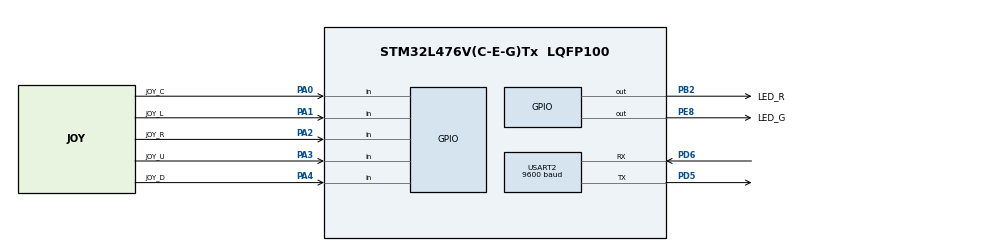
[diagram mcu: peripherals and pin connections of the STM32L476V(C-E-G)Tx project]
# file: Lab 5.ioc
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Mcu.Family=STM32L4
Mcu.Name=STM32L476V(C-E-G)Tx
Mcu.Package=LQFP100
NVIC.PriorityGroup=NVIC_PRIORITYGROUP_4
PA0.GPIO_Label=JOY_C
PA0.GPIO_PuPd=GPIO_PULLDOWN
PA0.Signal=GPIO_Input
PA1.GPIO_Label=JOY_L
PA1.GPIO_PuPd=GPIO_PULLDOWN
PA1.Signal=GPIO_Input
PA2.GPIO_Label=JOY_R
PA2.GPIO_PuPd=GPIO_PULLDOWN
PA2.Signal=GPIO_Input
PA3.GPIO_Label=JOY_U
PA3.GPIO_PuPd=GPIO_PULLDOWN
PA3.Signal=GPIO_Input
PA4.GPIO_Label=JOY_D
PA4.GPIO_PuPd=GPIO_PULLDOWN
PA4.Signal=GPIO_Input
PB2.GPIO_Label=LED_R
PB2.GPIO_ModeDefaultOutputPP=GPIO_MODE_OUTPUT_PP
PB2.PinState=GPIO_PIN_SET
PB2.Signal=GPIO_Output
PD5.GPIO_PuPd=GPIO_PULLUP
PD5.Mode=Asynchronous
PD5.Signal=USART2_TX
PD6.GPIO_PuPd=GPIO_PULLUP
PD6.Mode=Asynchronous
PD6.Signal=USART2_RX
PE8.GPIO_Label=LED_G
PE8.PinState=GPIO_PIN_SET
PE8.Signal=GPIO_Output
ProjectManager.HeapSize=0x200
ProjectManager.StackSize=0x400
ProjectManager.TargetToolchain=MDK-ARM V5
RCC.HSE_VALUE=8000000
RCC.HSI_VALUE=16000000
RCC.LSE_VALUE=32768
RCC.MSI_VALUE=4000000
RCC.VCOOutputFreq_Value=32000000
USART2.BaudRate=9600
USART2.VirtualMode-Asynchronous=VM_ASYNC
board=custom

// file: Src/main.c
/* USER CODE BEGIN Header */
/**
  ******************************************************************************
  * @file           : main.c
  * @brief          : Main program body
  ******************************************************************************
  ** This notice applies to any and all portions of this file
  * that are not between comment pairs USER CODE BEGIN and
  * USER CODE END. Other portions of this file, whether
  * inserted by the user or by software development tools
  * are owned by their respective copyright owners.
  *
  * COPYRIGHT(c) 2019 STMicroelectronics
  *
  * Redistribution and use in source and binary forms, with or without modification,
  * are permitted provided that the following conditions are met:
  *   1. Redistributions of source code must retain the above copyright notice,
  *      this list of conditions and the following disclaimer.
  *   2. Redistributions in binary form must reproduce the above copyright notice,
  *      this list of conditions and the following disclaimer in the documentation
  *      and/or other materials provided with the distribution.
  *   3. Neither the name of STMicroelectronics nor the names of its contributors
  *      may be used to endorse or promote products derived from this software
  *      without specific prior written permission.
  *
  * THIS SOFTWARE IS PROVIDED BY THE COPYRIGHT HOLDERS AND CONTRIBUTORS "AS IS"
  * AND ANY EXPRESS OR IMPLIED WARRANTIES, INCLUDING, BUT NOT LIMITED TO, THE
  * IMPLIED WARRANTIES OF MERCHANTABILITY AND FITNESS FOR A PARTICULAR PURPOSE ARE
  * DISCLAIMED. IN NO EVENT SHALL THE COPYRIGHT HOLDER OR CONTRIBUTORS BE LIABLE
  * FOR ANY DIRECT, INDIRECT, INCIDENTAL, SPECIAL, EXEMPLARY, OR CONSEQUENTIAL
  * DAMAGES (INCLUDING, BUT NOT LIMITED TO, PROCUREMENT OF SUBSTITUTE GOODS OR
  * SERVICES; LOSS OF USE, DATA, OR PROFITS; OR BUSINESS INTERRUPTION) HOWEVER
  * CAUSED AND ON ANY THEORY OF LIABILITY, WHETHER IN CONTRACT, STRICT LIABILITY,
  * OR TORT (INCLUDING NEGLIGENCE OR OTHERWISE) ARISING IN ANY WAY OUT OF THE USE
  * OF THIS SOFTWARE, EVEN IF ADVISED OF THE POSSIBILITY OF SUCH DAMAGE.
  *
  ******************************************************************************
  */
/* USER CODE END Header */

#include "main.h"

/* USER CODE BEGIN Includes */
#include "stdio.h"
#include <stdbool.h>
/* USER CODE END Includes */

UART_HandleTypeDef huart2;

void SystemClock_Config(void);
static void MX_GPIO_Init(void);
static void MX_USART2_UART_Init(void);
/* USER CODE BEGIN PFP */

/* Private function prototypes -----------------------------------------------*/
#ifdef __GNUC__
/* With GCC, small printf (option LD Linker->Libraries->Small printf
   set to 'Yes') calls __io_putchar() */
#define PUTCHAR_PROTOTYPE int __io_putchar(int ch)
#else
#define PUTCHAR_PROTOTYPE int fputc(int ch, FILE *f)
#endif /* __GNUC__ */

extern uint32_t read_a_bit_of_a_port(__IO uint32_t *pIDR, uint32_t pinMask);
extern void set_a_bit_of_a_port(__IO uint32_t *pODR, uint32_t pinMask);
extern void clear_a_bit_of_a_port(__IO uint32_t *pODR, uint32_t pinMask);

#define LD_R_ON   (set_a_bit_of_a_port(&(LED_R_GPIO_Port->ODR), LED_R_Pin))//(LED_R_GPIO_Port->BSRR = (uint32_t)LED_R_Pin)// Add the appropriate function here
#define LD_G_ON   (set_a_bit_of_a_port(&(LED_G_GPIO_Port->ODR), LED_G_Pin))//(LED_G_GPIO_Port->BSRR = (uint32_t)LED_G_Pin)// Add the appropriate function here
#define LD_R_OFF  (clear_a_bit_of_a_port(&(LED_R_GPIO_Port->ODR), LED_R_Pin))//(LED_R_GPIO_Port->BRR = (uint32_t)LED_R_Pin) // Add the appropriate function here
#define LD_G_OFF  (clear_a_bit_of_a_port(&(LED_G_GPIO_Port->ODR), LED_G_Pin))//(LED_G_GPIO_Port->BRR = (uint32_t)LED_G_Pin)// Add the appropriate function here
#define JOY_C_IS_PRESSED  (read_a_bit_of_a_port(&(JOY_C_GPIO_Port->IDR), JOY_C_Pin)!=0x00u)//((JOY_C_GPIO_Port->IDR & JOY_C_Pin) != 0x00u )// Add the appropriate function here
#define JOY_L_IS_PRESSED  (read_a_bit_of_a_port(&(JOY_L_GPIO_Port->IDR), JOY_L_Pin)!=0x00u)// Add the appropriate function here
#define JOY_R_IS_PRESSED  (read_a_bit_of_a_port(&(JOY_R_GPIO_Port->IDR), JOY_R_Pin)!=0x00u)// Add the appropriate function here

/* USER CODE END PFP */

int main(void)
{
  /* USER CODE BEGIN 1 */
    // Code snippet 3
    enum progState{State1 = 1, State2, State3, State4};
    enum progState currentState = State1;
    bool stateChanged = true;
    bool ledON = true;
    uint32_t bDelay = 100;
  /* USER CODE END 1 */

  /* MCU Configuration--------------------------------------------------------*/

  /* Reset of all peripherals, Initializes the Flash interface and the Systick. */
  HAL_Init();

  /* Configure the system clock */
  SystemClock_Config();

  /* Initialize all configured peripherals */
  MX_GPIO_Init();
  MX_USART2_UART_Init();
  /* USER CODE BEGIN 2 */
	printf("\n\rLab 5: Tyler Wise & Oleksandr Hendrik\n\r");
  /* USER CODE END 2 */

  /* Infinite loop */
  while (1)
  {

    /* USER CODE BEGIN 3 */
		// Code snippet 4
    if (stateChanged)
        printf("The current state is State%1d.\n\r", currentState);
    switch (currentState) {
      case State1:
        if (stateChanged) {
            printf("Press the center key to go to State 2.\n\r");
            stateChanged = false;
        }
        if (JOY_C_IS_PRESSED) {
            currentState = State2;
            stateChanged = true;
            break;
        }
        if (ledON) {
            LD_R_ON;
            LD_G_OFF;
        } else {
            LD_R_OFF;
            LD_G_ON;
        }
        HAL_Delay(bDelay);
        ledON = !ledON;
        break;
      case State2:
        if (stateChanged) {
            printf("Press the center, left, or right key to go to State 1, 3, or 4.\n\r");
            stateChanged = false;
        }
        if (JOY_C_IS_PRESSED) {
            currentState = State1;
            stateChanged = true;
            break;
        }
        if (JOY_L_IS_PRESSED) {
            currentState = State3;
            stateChanged = true;
            break;
        }
        if (JOY_R_IS_PRESSED) {
            currentState = State4;
            stateChanged = true;
            break;
        }
        LD_R_OFF;
        LD_G_OFF;
        break;
      case State3:
        if (stateChanged) {
            printf("Press the center or right key to go to State 2 or 4.\n\r");
            stateChanged = false;
        }
        if (JOY_C_IS_PRESSED) {
            currentState = State2;
            stateChanged = true;
            break;
        }
        if (JOY_R_IS_PRESSED) {
            currentState = State4;
            stateChanged = true;
            break;
        }
        if (ledON) {
            LD_R_ON;
        } else {
            LD_R_OFF;
        }
        LD_G_OFF;
        HAL_Delay(2*bDelay);
        ledON = !ledON;
        break;
      case State4:
        if (stateChanged) {
            printf("Press the center or left key to go to State 2 or 3.\n\r");
            stateChanged = false;
        }
        if (JOY_C_IS_PRESSED) {
            currentState = State2;
            stateChanged = true;
            break;
        }
        if (JOY_L_IS_PRESSED) {
            currentState = State3;
            stateChanged = true;
            break;
        }
        if (ledON) {
            LD_G_ON;
        } else {
            LD_G_OFF;
        }
        LD_R_OFF;
        HAL_Delay(3*bDelay);
        ledON = !ledON;
        break;
      default:
        printf("The program should not print this line---something is deadly wrong\n\r");
        break;
    }
  }
  /* USER CODE END 3 */
}

void SystemClock_Config(void)
{
  RCC_OscInitTypeDef RCC_OscInitStruct = {0};
  RCC_ClkInitTypeDef RCC_ClkInitStruct = {0};
  RCC_PeriphCLKInitTypeDef PeriphClkInit = {0};

  /**Initializes the CPU, AHB and APB busses clocks
  */
  RCC_OscInitStruct.OscillatorType = RCC_OSCILLATORTYPE_MSI;
  RCC_OscInitStruct.MSIState = RCC_MSI_ON;
  RCC_OscInitStruct.MSICalibrationValue = 0;
  RCC_OscInitStruct.MSIClockRange = RCC_MSIRANGE_6;
  RCC_OscInitStruct.PLL.PLLState = RCC_PLL_NONE;
  if (HAL_RCC_OscConfig(&RCC_OscInitStruct) != HAL_OK)
  {
    Error_Handler();
  }
  /**Initializes the CPU, AHB and APB busses clocks
  */
  RCC_ClkInitStruct.ClockType = RCC_CLOCKTYPE_HCLK|RCC_CLOCKTYPE_SYSCLK
                              |RCC_CLOCKTYPE_PCLK1|RCC_CLOCKTYPE_PCLK2;
  RCC_ClkInitStruct.SYSCLKSource = RCC_SYSCLKSOURCE_MSI;
  RCC_ClkInitStruct.AHBCLKDivider = RCC_SYSCLK_DIV1;
  RCC_ClkInitStruct.APB1CLKDivider = RCC_HCLK_DIV1;
  RCC_ClkInitStruct.APB2CLKDivider = RCC_HCLK_DIV1;

  if (HAL_RCC_ClockConfig(&RCC_ClkInitStruct, FLASH_LATENCY_0) != HAL_OK)
  {
    Error_Handler();
  }
  PeriphClkInit.PeriphClockSelection = RCC_PERIPHCLK_USART2;
  PeriphClkInit.Usart2ClockSelection = RCC_USART2CLKSOURCE_PCLK1;
  if (HAL_RCCEx_PeriphCLKConfig(&PeriphClkInit) != HAL_OK)
  {
    Error_Handler();
  }
  /**Configure the main internal regulator output voltage
  */
  if (HAL_PWREx_ControlVoltageScaling(PWR_REGULATOR_VOLTAGE_SCALE1) != HAL_OK)
  {
    Error_Handler();
  }
}

static void MX_USART2_UART_Init(void)
{

  huart2.Instance = USART2;
  huart2.Init.BaudRate = 9600;
  huart2.Init.WordLength = UART_WORDLENGTH_8B;
  huart2.Init.StopBits = UART_STOPBITS_1;
  huart2.Init.Parity = UART_PARITY_NONE;
  huart2.Init.Mode = UART_MODE_TX_RX;
  huart2.Init.HwFlowCtl = UART_HWCONTROL_NONE;
  huart2.Init.OverSampling = UART_OVERSAMPLING_16;
  huart2.Init.OneBitSampling = UART_ONE_BIT_SAMPLE_DISABLE;
  huart2.AdvancedInit.AdvFeatureInit = UART_ADVFEATURE_NO_INIT;
  if (HAL_UART_Init(&huart2) != HAL_OK)
  {
    Error_Handler();
  }

}

static void MX_GPIO_Init(void)
{
  GPIO_InitTypeDef GPIO_InitStruct = {0};

  /* GPIO Ports Clock Enable */
  __HAL_RCC_GPIOA_CLK_ENABLE();
  __HAL_RCC_GPIOB_CLK_ENABLE();
  __HAL_RCC_GPIOE_CLK_ENABLE();
  __HAL_RCC_GPIOD_CLK_ENABLE();

  /*Configure GPIO pin Output Level */
  HAL_GPIO_WritePin(LED_R_GPIO_Port, LED_R_Pin, GPIO_PIN_SET);

  /*Configure GPIO pin Output Level */
  HAL_GPIO_WritePin(LED_G_GPIO_Port, LED_G_Pin, GPIO_PIN_SET);

  /*Configure GPIO pins : JOY_C_Pin JOY_L_Pin JOY_R_Pin JOY_U_Pin
                           JOY_D_Pin */
  GPIO_InitStruct.Pin = JOY_C_Pin|JOY_L_Pin|JOY_R_Pin|JOY_U_Pin
                          |JOY_D_Pin;
  GPIO_InitStruct.Mode = GPIO_MODE_INPUT;
  GPIO_InitStruct.Pull = GPIO_PULLDOWN;
  HAL_GPIO_Init(GPIOA, &GPIO_InitStruct);

  /*Configure GPIO pin : LED_R_Pin */
  GPIO_InitStruct.Pin = LED_R_Pin;
  GPIO_InitStruct.Mode = GPIO_MODE_OUTPUT_PP;
  GPIO_InitStruct.Pull = GPIO_NOPULL;
  GPIO_InitStruct.Speed = GPIO_SPEED_FREQ_LOW;
  HAL_GPIO_Init(LED_R_GPIO_Port, &GPIO_InitStruct);

  /*Configure GPIO pin : LED_G_Pin */
  GPIO_InitStruct.Pin = LED_G_Pin;
  GPIO_InitStruct.Mode = GPIO_MODE_OUTPUT_PP;
  GPIO_InitStruct.Pull = GPIO_NOPULL;
  GPIO_InitStruct.Speed = GPIO_SPEED_FREQ_LOW;
  HAL_GPIO_Init(LED_G_GPIO_Port, &GPIO_InitStruct);

}

/* USER CODE BEGIN 4 */
PUTCHAR_PROTOTYPE
{
	HAL_UART_Transmit(&huart2, (uint8_t *)&ch, 1, 0xFFFF);
	return ch;
}
/* USER CODE END 4 */

void Error_Handler(void)
{
}

/************************ (C) COPYRIGHT STMicroelectronics *****END OF FILE****/
